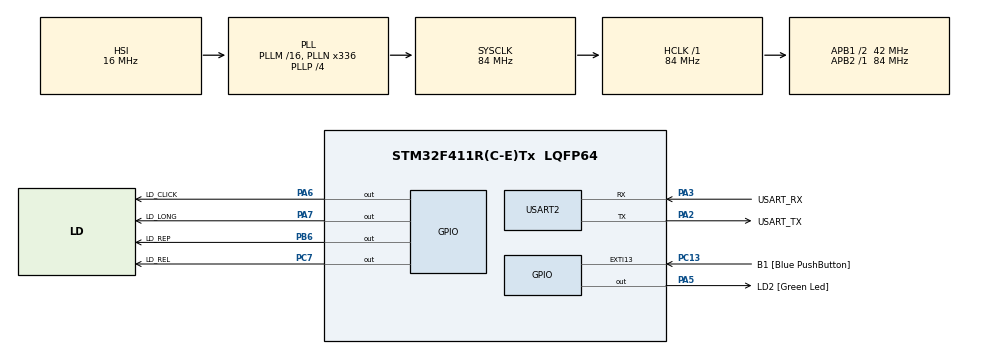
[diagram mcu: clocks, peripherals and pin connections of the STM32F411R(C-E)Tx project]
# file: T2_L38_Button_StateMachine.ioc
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Mcu.Family=STM32F4
Mcu.Name=STM32F411R(C-E)Tx
Mcu.Package=LQFP64
NVIC.PriorityGroup=NVIC_PRIORITYGROUP_0
PA13.GPIO_Label=TMS
PA13.Mode=Serial_Wire
PA13.Signal=SYS_JTMS-SWDIO
PA14.GPIO_Label=TCK
PA14.Mode=Serial_Wire
PA14.Signal=SYS_JTCK-SWCLK
PA2.GPIO_Label=USART_TX
PA2.Mode=Asynchronous
PA2.Signal=USART2_TX
PA3.GPIO_Label=USART_RX
PA3.Mode=Asynchronous
PA3.Signal=USART2_RX
PA5.GPIO_Label=LD2 [Green Led]
PA5.Signal=GPIO_Output
PA6.GPIO_Label=LD_CLICK
PA6.Signal=GPIO_Output
PA7.GPIO_Label=LD_LONG
PA7.Signal=GPIO_Output
PB3.GPIO_Label=SWO
PB3.Signal=SYS_JTDO-SWO
PB6.GPIO_Label=LD_REP
PB6.Signal=GPIO_Output
PC13-ANTI_TAMP.GPIO_Label=B1 [Blue PushButton]
PC13-ANTI_TAMP.GPIO_ModeDefaultEXTI=GPIO_MODE_IT_FALLING
PC13-ANTI_TAMP.Signal=GPXTI13
PC14-OSC32_IN.Mode=LSE-External-Oscillator
PC14-OSC32_IN.Signal=RCC_OSC32_IN
PC15-OSC32_OUT.Mode=LSE-External-Oscillator
PC15-OSC32_OUT.Signal=RCC_OSC32_OUT
PC7.GPIO_Label=LD_REL
PC7.Signal=GPIO_Output
PH0\ -\ OSC_IN.Mode=HSE-External-Clock-Source
PH0\ -\ OSC_IN.Signal=RCC_OSC_IN
PH1\ -\ OSC_OUT.Mode=HSE-External-Clock-Source
PH1\ -\ OSC_OUT.Signal=RCC_OSC_OUT
ProjectManager.HeapSize=0x200
ProjectManager.StackSize=0x400
ProjectManager.TargetToolchain=STM32CubeIDE
RCC.48MHZClocksFreq_Value=84000000
RCC.AHBFreq_Value=84000000
RCC.APB1CLKDivider=RCC_HCLK_DIV2
RCC.APB1Freq_Value=42000000
RCC.APB1TimFreq_Value=84000000
RCC.APB2Freq_Value=84000000
RCC.APB2TimFreq_Value=84000000
RCC.CortexFreq_Value=84000000
RCC.FLatency-AdvancedSettings=FLASH_LATENCY_2
RCC.HCLKFreq_Value=84000000
RCC.HSE_VALUE=8000000
RCC.HSI_VALUE=16000000
RCC.PLLN=336
RCC.PLLP=RCC_PLLP_DIV4
RCC.SYSCLKFreq_VALUE=84000000
RCC.SYSCLKSource=RCC_SYSCLKSOURCE_PLLCLK
RCC.VCOOutputFreq_Value=336000000
USART2.VirtualMode=VM_ASYNC
board=NUCLEO-F411RE

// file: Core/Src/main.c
/* USER CODE BEGIN Header */
/**
  ******************************************************************************
  * @file           : main.c
  * @brief          : Main program body
  ******************************************************************************
  * @attention
  *
  * Copyright (c) 2021 STMicroelectronics.
  * All rights reserved.
  *
  * This software is licensed under terms that can be found in the LICENSE file
  * in the root directory of this software component.
  * If no LICENSE file comes with this software, it is provided AS-IS.
  *
  ******************************************************************************
  */
/* USER CODE END Header */
#include "main.h"
#include "usart.h"
#include "gpio.h"

/* USER CODE BEGIN Includes */
#include "button.h"
/* USER CODE END Includes */

/* USER CODE BEGIN PV */
Button_t BlueKey;
/* USER CODE END PV */

void SystemClock_Config(void);
/* USER CODE BEGIN PFP */
void ToggleLedClick(void);
void ToggleLedLong(void);
void ToggleLedRep(void);
int8_t BlinkLedRel(void);
/* USER CODE END PFP */

int main(void)
{

  /* MCU Configuration--------------------------------------------------------*/

  /* Reset of all peripherals, Initializes the Flash interface and the Systick. */
  HAL_Init();

  /* Configure the system clock */
  SystemClock_Config();

  /* Initialize all configured peripherals */
  MX_GPIO_Init();
  MX_USART2_UART_Init();
  /* USER CODE BEGIN 2 */
  ButtonInit(&BlueKey, B1_GPIO_Port, B1_Pin, 20, 500, 500);
  ButtonRegisterPressCallback(&BlueKey, ToggleLedClick);
  ButtonRegisterLongPressCallback(&BlueKey, ToggleLedLong);
  ButtonRegisterRepeatCallback(&BlueKey, ToggleLedRep);
  ButtonRegisterReleaseCallback(&BlueKey, BlinkLedRel);
  /* USER CODE END 2 */

  /* Infinite loop */
  /* USER CODE BEGIN WHILE */
  while (1)
  {
	  ButtonTask(&BlueKey);
    /* USER CODE END WHILE */

  }
}

void SystemClock_Config(void)
{
  RCC_OscInitTypeDef RCC_OscInitStruct = {0};
  RCC_ClkInitTypeDef RCC_ClkInitStruct = {0};

  /** Configure the main internal regulator output voltage
  */
  __HAL_RCC_PWR_CLK_ENABLE();
  __HAL_PWR_VOLTAGESCALING_CONFIG(PWR_REGULATOR_VOLTAGE_SCALE1);
  /** Initializes the RCC Oscillators according to the specified parameters
  * in the RCC_OscInitTypeDef structure.
  */
  RCC_OscInitStruct.OscillatorType = RCC_OSCILLATORTYPE_HSI;
  RCC_OscInitStruct.HSIState = RCC_HSI_ON;
  RCC_OscInitStruct.HSICalibrationValue = RCC_HSICALIBRATION_DEFAULT;
  RCC_OscInitStruct.PLL.PLLState = RCC_PLL_ON;
  RCC_OscInitStruct.PLL.PLLSource = RCC_PLLSOURCE_HSI;
  RCC_OscInitStruct.PLL.PLLM = 16;
  RCC_OscInitStruct.PLL.PLLN = 336;
  RCC_OscInitStruct.PLL.PLLP = RCC_PLLP_DIV4;
  RCC_OscInitStruct.PLL.PLLQ = 4;
  if (HAL_RCC_OscConfig(&RCC_OscInitStruct) != HAL_OK)
  {
    Error_Handler();
  }
  /** Initializes the CPU, AHB and APB buses clocks
  */
  RCC_ClkInitStruct.ClockType = RCC_CLOCKTYPE_HCLK|RCC_CLOCKTYPE_SYSCLK
                              |RCC_CLOCKTYPE_PCLK1|RCC_CLOCKTYPE_PCLK2;
  RCC_ClkInitStruct.SYSCLKSource = RCC_SYSCLKSOURCE_PLLCLK;
  RCC_ClkInitStruct.AHBCLKDivider = RCC_SYSCLK_DIV1;
  RCC_ClkInitStruct.APB1CLKDivider = RCC_HCLK_DIV2;
  RCC_ClkInitStruct.APB2CLKDivider = RCC_HCLK_DIV1;

  if (HAL_RCC_ClockConfig(&RCC_ClkInitStruct, FLASH_LATENCY_2) != HAL_OK)
  {
    Error_Handler();
  }
}

/* USER CODE BEGIN 4 */
void ToggleLedClick(void)
{
	HAL_GPIO_TogglePin(LD_CLICK_GPIO_Port, LD_CLICK_Pin);
}

void ToggleLedLong(void)
{
	HAL_GPIO_TogglePin(LD_LONG_GPIO_Port, LD_LONG_Pin);
}

void ToggleLedRep(void)
{
	HAL_GPIO_TogglePin(LD_REP_GPIO_Port, LD_REP_Pin);
}

int8_t BlinkLedRel(void)
{
	static int8_t blink;
	static uint32_t LastTick;

	if (blink <= 0) blink = 4;

	if (blink > 0 && ((HAL_GetTick() - LastTick) > 200))
	{
		HAL_GPIO_TogglePin(LD_REL_GPIO_Port, LD_REL_Pin);
		LastTick = HAL_GetTick();
		blink--;
	}

	return blink;

}
/* USER CODE END 4 */

void Error_Handler(void)
{
  __disable_irq();
  while (1)
  {
  }
}
